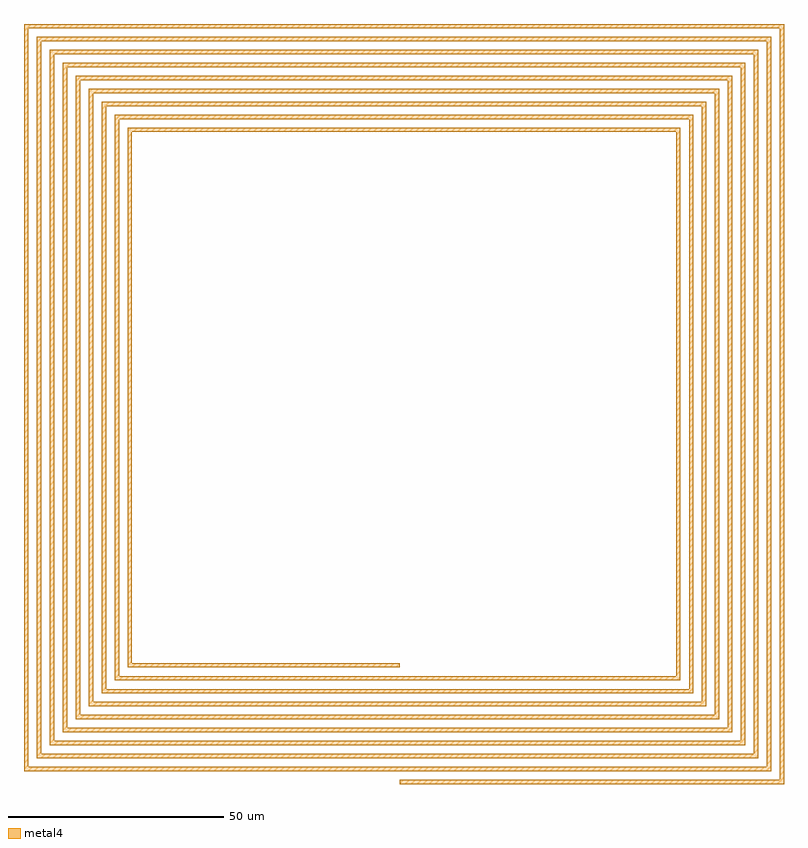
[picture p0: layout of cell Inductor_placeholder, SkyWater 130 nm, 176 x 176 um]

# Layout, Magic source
magic
tech sky130A
<< metal4 >>
rect -2530 14810 15070 14910
rect -2530 -2290 -2430 14810
rect -2230 14510 14770 14610
rect -2230 -1990 -2130 14510
rect -1930 14210 14470 14310
rect -1930 -1690 -1830 14210
rect -1630 13910 14170 14010
rect -1630 -1390 -1530 13910
rect -1330 13610 13870 13710
rect -1330 -1090 -1230 13610
rect -1030 13310 13570 13410
rect -1030 -790 -930 13310
rect -730 13010 13270 13110
rect -730 -490 -630 13010
rect -430 12710 12970 12810
rect -430 -190 -330 12710
rect -130 12410 12670 12510
rect -130 110 -30 12410
rect -130 10 6170 110
rect 12570 -190 12670 12410
rect -430 -290 12670 -190
rect 12870 -490 12970 12710
rect -730 -590 12970 -490
rect 13170 -790 13270 13010
rect -1030 -890 13270 -790
rect 13470 -1090 13570 13310
rect -1330 -1190 13570 -1090
rect 13770 -1390 13870 13610
rect -1630 -1490 13870 -1390
rect 14070 -1690 14170 13910
rect -1930 -1790 14170 -1690
rect 14370 -1990 14470 14210
rect -2230 -2090 14470 -1990
rect 14670 -2290 14770 14510
rect -2530 -2390 14770 -2290
rect 14970 -2590 15070 14810
rect 6170 -2690 15070 -2590
<< end >>
